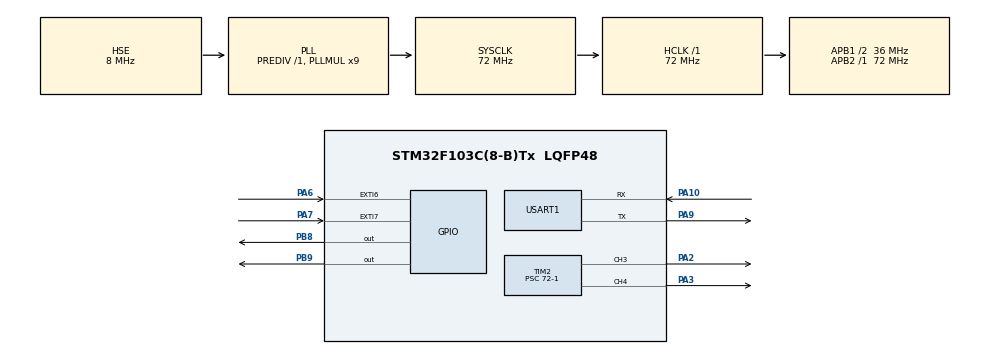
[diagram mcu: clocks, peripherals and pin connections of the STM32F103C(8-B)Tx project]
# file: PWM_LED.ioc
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Mcu.Family=STM32F1
Mcu.Name=STM32F103C(8-B)Tx
Mcu.Package=LQFP48
NVIC.EXTI9_5_IRQn=true\:1\:0\:true\:false\:true\:true\:true\:true
NVIC.PriorityGroup=NVIC_PRIORITYGROUP_4
NVIC.TIM2_IRQn=true\:2\:0\:true\:false\:true\:true\:true\:true
NVIC.USART1_IRQn=true\:0\:0\:false\:false\:true\:true\:true\:true
PA10.Mode=Asynchronous
PA10.Signal=USART1_RX
PA13.Mode=Serial_Wire
PA13.Signal=SYS_JTMS-SWDIO
PA14.Mode=Serial_Wire
PA14.Signal=SYS_JTCK-SWCLK
PA2.Signal=S_TIM2_CH3
PA3.Signal=S_TIM2_CH4
PA6.GPIO_ModeDefaultEXTI=GPIO_MODE_IT_FALLING
PA6.GPIO_PuPd=GPIO_PULLUP
PA6.Signal=GPXTI6
PA7.GPIO_ModeDefaultEXTI=GPIO_MODE_IT_FALLING
PA7.GPIO_PuPd=GPIO_PULLUP
PA7.Signal=GPXTI7
PA9.Mode=Asynchronous
PA9.Signal=USART1_TX
PB8.GPIO_Speed=GPIO_SPEED_FREQ_HIGH
PB8.Signal=GPIO_Output
PB9.GPIO_Speed=GPIO_SPEED_FREQ_HIGH
PB9.Signal=GPIO_Output
PC14-OSC32_IN.Mode=LSE-External-Oscillator
PC14-OSC32_IN.Signal=RCC_OSC32_IN
PC15-OSC32_OUT.Mode=LSE-External-Oscillator
PC15-OSC32_OUT.Signal=RCC_OSC32_OUT
PD0-OSC_IN.Mode=HSE-External-Oscillator
PD0-OSC_IN.Signal=RCC_OSC_IN
PD1-OSC_OUT.Mode=HSE-External-Oscillator
PD1-OSC_OUT.Signal=RCC_OSC_OUT
ProjectManager.HeapSize=0x200
ProjectManager.StackSize=0x400
ProjectManager.TargetToolchain=MDK-ARM V5.32
RCC.AHBFreq_Value=72000000
RCC.APB1CLKDivider=RCC_HCLK_DIV2
RCC.APB1Freq_Value=36000000
RCC.APB1TimFreq_Value=72000000
RCC.APB2Freq_Value=72000000
RCC.APB2TimFreq_Value=72000000
RCC.HCLKFreq_Value=72000000
RCC.PLLMUL=RCC_PLL_MUL9
RCC.PLLSourceVirtual=RCC_PLLSOURCE_HSE
RCC.SYSCLKFreq_VALUE=72000000
RCC.SYSCLKSource=RCC_SYSCLKSOURCE_PLLCLK
RCC.USBFreq_Value=72000000
SH.S_TIM2_CH3.0=TIM2_CH3,PWM Generation3 CH3
SH.S_TIM2_CH4.0=TIM2_CH4,PWM Generation4 CH4
TIM2.Channel-PWM\ Generation3\ CH3=TIM_CHANNEL_3
TIM2.Channel-PWM\ Generation4\ CH4=TIM_CHANNEL_4
TIM2.Period=100-1
TIM2.Prescaler=72-1
TIM2.Pulse-PWM\ Generation3\ CH3=99
TIM2.Pulse-PWM\ Generation4\ CH4=99
USART1.VirtualMode=VM_ASYNC
VP_TIM2_VS_ClockSourceINT.Mode=Internal
board=custom

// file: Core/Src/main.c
/* USER CODE BEGIN Header */
/**
  ******************************************************************************
  * @file           : main.c
  * @brief          : Main program body
  ******************************************************************************
  * @attention
  *
  * Copyright (c) 2026 STMicroelectronics.
  * All rights reserved.
  *
  * This software is licensed under terms that can be found in the LICENSE file
  * in the root directory of this software component.
  * If no LICENSE file comes with this software, it is provided AS-IS.
  *
  ******************************************************************************
  */
/* USER CODE END Header */
#include "main.h"
#include "tim.h"
#include "usart.h"
#include "gpio.h"

/* USER CODE BEGIN Includes */
#include "oled.h"
#include "string.h"
/* USER CODE END Includes */

/* USER CODE BEGIN PV */
volatile int i=0;//初始通道1占空比
volatile int i2=0;//初始通道2占空比
volatile uint16_t flag=0;//提示错误的标志
volatile uint8_t mode=0;//用来存放通道1的模式
volatile uint8_t mode2=0;//用来存放通道2的模式
 uint8_t rx_data;//存放收到的字符
volatile int duty1;//存放通道1的占空比
volatile int duty2;//存放通道2的占空比

volatile uint8_t rx_buf[100];//存放累积收到的字符串
volatile uint8_t rx_index=0;//用来给给存放收到的数据计数
volatile uint16_t num_acc=0;//用来做通道1数值的累计
volatile uint16_t num_acc2=0;//用来做通道2数值的累计

volatile uint32_t last_digit_tick=0;//用来统计时间
volatile uint8_t oled_update=0;//通道1是否在oled屏幕上显示的标志
volatile uint8_t oled_update2=0;//通道2是否在oled屏幕上显示的标志

const char *cmdA="LED1 A";
const char *cmdM="LED1 M";
const char *cmdA2="LED2 A";
const char *cmdM2="LED2 M";//提前设置的正确字符串，用于后面比较。
uint8_t is_prefix=0;//用于判断是否是上方的字符串
volatile int dir1=1;//后面改变符号，用来自动模式增加或减少
volatile int dir2=1;
volatile uint32_t last_step_tick_ch1=0;//用来记录时间
volatile uint32_t last_step_tick_ch2=0;
/* USER CODE END PV */

void SystemClock_Config(void);

/* USER CODE BEGIN 0 */
void HAL_UART_RxCpltCallback(UART_HandleTypeDef *huart)
{

	if (huart==&huart1)
	{
		rx_buf[rx_index]=rx_data;
		rx_index++;//把一次次收到的字符连接成字符串
		if(strcmp((char *)rx_buf,"LED1 A")==0)//识别收到的字符串

		{
			mode=1;//改变模式
			dir1=1;
			last_step_tick_ch1=HAL_GetTick();//获取时间
			flag=0;//错误提示的标志
			for(int k=0;k<100;k++)//已经识别到了，所以清空数组
			{
				rx_buf[k]=0;
			}
			rx_index=0;

		}
else if(strcmp((char *)rx_buf,"LED2 A")==0)//识别收到的字符

		{
			mode2=1;//改变模式
			dir2=1;
			last_step_tick_ch2=HAL_GetTick();
			flag=0;//错误提示的标志
			for(int k=0;k<100;k++)
			{
				rx_buf[k]=0;
			}
			rx_index=0;

		}
		else if(strcmp((char *)rx_buf,"LED1 M")==0)//识别收到的字符
		{
			mode=2;
			if(mode2==2)
				mode2=0;//确保输入数字是传给通道2的，不然通道1，2同时打开会传给通道1
			flag=0;
			for(int k=0;k<100;k++)//依旧清空数组
			{
				rx_buf[k]=0;
			}
			rx_index=0;
		}
		else if(strcmp((char *)rx_buf,"LED2 M")==0)//识别收到的字符
		{
			mode2=2;
			if(mode==2)
			mode=0;
			flag=0;
			for(int k=0;k<100;k++)
			{
				rx_buf[k]=0;
			}
			rx_index=0;
		}

			else if( mode==2)//识别收到的字符
			{

				is_prefix=1;//判断标志
				for(int k=0;k<rx_index;k++)//收到一个字符比较一次，只要一摸一样就不进入，不清空数组，这样才能在手动模式下换成别的模式
		{
			if(rx_buf[k]!=(uint8_t)cmdA[k]&&rx_buf[k]!=(uint8_t)cmdM[k]&&rx_buf[k]!=(uint8_t)cmdA2[k]&&rx_buf[k]!=(uint8_t)cmdM2[k])
			{
				is_prefix=0;
				break;
			}
		}
		if(is_prefix==0)
		{

				if(rx_data>='0'&&rx_data<='9')
				{
					uint32_t now=HAL_GetTick();
					if(now-last_digit_tick>500)//这样才能确保多次输入数字，否则每次输入数字都会到后面的累加里
					{
						num_acc=0;
					}
					last_digit_tick=now;
					num_acc=num_acc*10+(rx_data-'0');//输入二位数或者三位数要这样计算，因为收到字符是一个一个收到的

				if(num_acc>=100)//把i锁定在最大值
	            {
		        num_acc=100;
	            }
				i=num_acc;
				duty1=i*100/(htim2.Init.Period+1);//计算占空比
				 __HAL_TIM_SET_COMPARE(&htim2,TIM_CHANNEL_4,i);//改变PWM的值
				oled_update=1;

				flag=0;//改变错误提示的标志
				for(int k=0;k<100;k++)//依旧清空缓冲区
			{
				rx_buf[k]=0;
			}
			rx_index=0;
		}
				else {flag=1;
		for(int k=0;k<100;k++)
			{
				rx_buf[k]=0;
			}
			rx_index=0;}
			}

		}

			/*此处下方为通道2    此处下方为通道2    此处下方为通道2  */
			/*此处下方为通道2    此处下方为通道2    此处下方为通道2  */
			/*此处下方为通道2    此处下方为通道2    此处下方为通道2  */

			else if( mode2==2)//识别收到的字符
			{

				is_prefix=1;
		for(int k=0;k<rx_index;k++)
		{
			if(rx_buf[k]!=(uint8_t)cmdA[k]&&rx_buf[k]!=(uint8_t)cmdM[k]&&rx_buf[k]!=(uint8_t)cmdA2[k]&&rx_buf[k]!=(uint8_t)cmdM2[k])
			{
				is_prefix=0;
				break;
			}
		}
		if(is_prefix==0)
		{

				if(rx_data>='0'&&rx_data<='9')
				{
					uint32_t now=HAL_GetTick();
					if(now-last_digit_tick>500)
					{
						num_acc2=0;
					}
					last_digit_tick=now;
					num_acc2=num_acc2*10+(rx_data-'0');

				if(num_acc2>=100)//把i锁定在最大值
	            {
		        num_acc2=100;
	            }
				i2=num_acc2;
				duty2=i2*100/(htim2.Init.Period+1);
				 __HAL_TIM_SET_COMPARE(&htim2,TIM_CHANNEL_3,i2);//改变PWM的值
				oled_update2=1;

				flag=0;//改变错误提示的标志
				for(int k=0;k<100;k++)
			{
				rx_buf[k]=0;
			}
			rx_index=0;
		}
				else {flag=1;
		for(int k=0;k<100;k++)
			{
				rx_buf[k]=0;
			}
			rx_index=0;}
			}
		}

			else
			{
			    flag=1;
				is_prefix=1;
		for(int k=0;k<rx_index;k++)
		{
			if(rx_buf[k]!=(uint8_t)cmdA[k]&&rx_buf[k]!=(uint8_t)cmdM[k]&&rx_buf[k]!=(uint8_t)cmdA2[k]&&rx_buf[k]!=(uint8_t)cmdM2[k])
			{
				is_prefix=0;
				break;
			}
		}
		if(is_prefix==0)
			{

				for(int k=0;k<=rx_index;k++)
			{
				rx_buf[k]=0;
			}
			rx_index=0;
			}

	}
}
	HAL_UART_Receive_IT(&huart1,&rx_data,1);//开启UART接收中断
}

/* USER CODE END 0 */

int main(void)
{

  /* MCU Configuration--------------------------------------------------------*/

  /* Reset of all peripherals, Initializes the Flash interface and the Systick. */
  HAL_Init();

  /* Configure the system clock */
  SystemClock_Config();

  /* Initialize all configured peripherals */
  MX_GPIO_Init();
  MX_TIM2_Init();
  MX_USART1_UART_Init();
  /* USER CODE BEGIN 2 */
  OLED_Init();
  HAL_TIM_PWM_Start(&htim2,TIM_CHANNEL_4);//开启PWM
    HAL_TIM_PWM_Start(&htim2,TIM_CHANNEL_3);//开启PWM
  OLED_Clear(0x00);//OLED清屏
  OLED_ShowString(0,0,(uint8_t*)"Duty1:",16);
  OLED_ShowString(0,2,(uint8_t*)"Duty2:",16);
  HAL_UART_Receive_IT(&huart1,&rx_data,1);
  __HAL_TIM_SET_COMPARE(&htim2,TIM_CHANNEL_4,i);
    __HAL_TIM_SET_COMPARE(&htim2,TIM_CHANNEL_3,i2);
  /* USER CODE END 2 */

  /* Infinite loop */
  /* USER CODE BEGIN WHILE */
  while (1)
  {
	  if(oled_update==1)
	  {
		   OLED_ShowNum(48,0,duty1,3,16);//输出结果
	       OLED_ShowChar(72,0,'%',16);
	  }
	  	  if(oled_update2==1)
	  {
		   OLED_ShowNum(48,2,duty2,3,16);//输出结果
	       OLED_ShowChar(72,2,'%',16);
	  }

	  OLED_ShowString(0,0,(uint8_t*)"Duty1:",16);
	  if(flag==1)
	  {
		 OLED_ShowString(0,4,(uint8_t*)"Input Invalid",16); //若输入错误弹出提示
	  }
	  if(flag==0)
	  {
		 OLED_ShowString(0,4,(uint8_t*)"             ",16); //输入正确覆盖提示
	  }

if(mode==1)
{
    if(i<20) i=20;
    if(i>80) i=80;//限制范围

    if(HAL_GetTick() - last_step_tick_ch1 >= 20)//只有时间过了一会再变化，不然变化太快，看不出来，相当于haley，但是不会阻断整个单片机的运行
    {
        last_step_tick_ch1 = HAL_GetTick();

        i += dir1;//通过主循环一次次加来改变占空比
        if(i>=80)
			{
		i=80;
		dir1=-1; //i到80了就逐渐减少
		}
        if(i<=20)
			{
		i=20;
		dir1= 1;//i到20了就逐渐增加
		}

        duty1 = i*100/(htim2.Init.Period+1);
        __HAL_TIM_SET_COMPARE(&htim2,TIM_CHANNEL_4,i);
        OLED_ShowNum(48,0,duty1,3,16);
        OLED_ShowChar(72,0,'%',16);
    }
}

			/*此处下方为通道2    此处下方为通道2    此处下方为通道2  */
			/*此处下方为通道2    此处下方为通道2    此处下方为通道2  */
			/*此处下方为通道2    此处下方为通道2    此处下方为通道2  */

if(mode2==1)
{
    if(i2<20) i2=20;
    if(i2>80) i2=80;

    if(HAL_GetTick() - last_step_tick_ch2 >= 20)
    {
        last_step_tick_ch2 = HAL_GetTick();

        i2 += dir2;
        if(i2>=80)
 {
 i2=80;
 dir2=-1;
 }
        if(i2<=20)
 {
 i2=20;
 dir2= 1;
 }

        duty2 = i2*100/(htim2.Init.Period+1);
        __HAL_TIM_SET_COMPARE(&htim2,TIM_CHANNEL_3,i2);
        OLED_ShowNum(48,2,duty2,3,16);
        OLED_ShowChar(72,2,'%',16);
    }
}

    /* USER CODE END WHILE */

  }
}

void SystemClock_Config(void)
{
  RCC_OscInitTypeDef RCC_OscInitStruct = {0};
  RCC_ClkInitTypeDef RCC_ClkInitStruct = {0};

  /** Initializes the RCC Oscillators according to the specified parameters
  * in the RCC_OscInitTypeDef structure.
  */
  RCC_OscInitStruct.OscillatorType = RCC_OSCILLATORTYPE_HSE;
  RCC_OscInitStruct.HSEState = RCC_HSE_ON;
  RCC_OscInitStruct.HSEPredivValue = RCC_HSE_PREDIV_DIV1;
  RCC_OscInitStruct.HSIState = RCC_HSI_ON;
  RCC_OscInitStruct.PLL.PLLState = RCC_PLL_ON;
  RCC_OscInitStruct.PLL.PLLSource = RCC_PLLSOURCE_HSE;
  RCC_OscInitStruct.PLL.PLLMUL = RCC_PLL_MUL9;
  if (HAL_RCC_OscConfig(&RCC_OscInitStruct) != HAL_OK)
  {
    Error_Handler();
  }

  /** Initializes the CPU, AHB and APB buses clocks
  */
  RCC_ClkInitStruct.ClockType = RCC_CLOCKTYPE_HCLK|RCC_CLOCKTYPE_SYSCLK
                              |RCC_CLOCKTYPE_PCLK1|RCC_CLOCKTYPE_PCLK2;
  RCC_ClkInitStruct.SYSCLKSource = RCC_SYSCLKSOURCE_PLLCLK;
  RCC_ClkInitStruct.AHBCLKDivider = RCC_SYSCLK_DIV1;
  RCC_ClkInitStruct.APB1CLKDivider = RCC_HCLK_DIV2;
  RCC_ClkInitStruct.APB2CLKDivider = RCC_HCLK_DIV1;

  if (HAL_RCC_ClockConfig(&RCC_ClkInitStruct, FLASH_LATENCY_2) != HAL_OK)
  {
    Error_Handler();
  }
}

void Error_Handler(void)
{
  __disable_irq();
  while (1)
  {
  }
}
